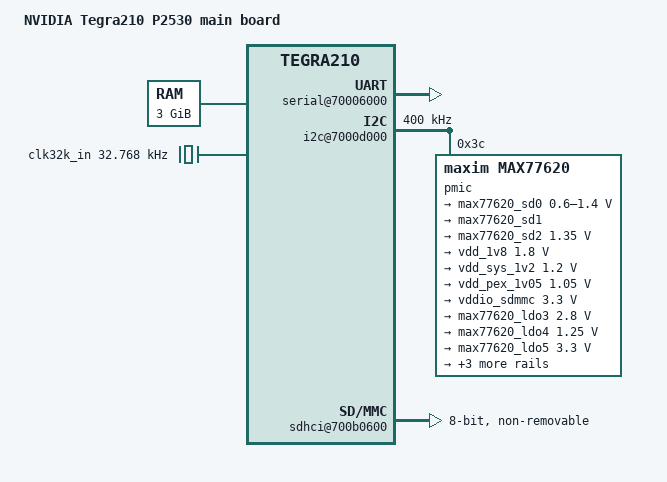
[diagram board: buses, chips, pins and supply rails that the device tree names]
#include <dt-bindings/mfd/max77620.h>

#include "tegra210.dtsi"

/ {
	model = "NVIDIA Tegra210 P2530 main board";
	compatible = "nvidia,p2530", "nvidia,tegra210";

	aliases {
		rtc0 = "/i2c@07000d000/pmic@3c";
		rtc1 = "/rtc@7000e000";
		serial0 = &uarta;
	};

	chosen {
		stdout-path = "serial0:115200n8";
	};

	memory {
		device_type = "memory";
		reg = <0x0 0x80000000 0x0 0xc0000000>;
	};

	/* debug port */
	serial@70006000 {
		status = "okay";
	};

	i2c@7000d000 {
		status = "okay";
		clock-frequency = <400000>;

		pmic: pmic@3c {
			compatible = "maxim,max77620";
			reg = <0x3c>;
			interrupts = <GIC_SPI 86 IRQ_TYPE_LEVEL_HIGH>;

			#interrupt-cells = <2>;
			interrupt-controller;

			#gpio-cells = <2>;
			gpio-controller;

			pinctrl-names = "default";
			pinctrl-0 = <&max77620_default>;

			max77620_default: pinmux {
				gpio0 {
					pins = "gpio0";
					function = "gpio";
				};

				gpio1 {
					pins = "gpio1";
					function = "fps-out";
					drive-push-pull = <1>;
					maxim,active-fps-source = <MAX77620_FPS_SRC_0>;
					maxim,active-fps-power-up-period = <7>;
					maxim,active-fps-power-down-period = <0>;
				};

				gpio2_3 {
					pins = "gpio2", "gpio3";
					function = "fps-out";
					drive-open-drain = <1>;
					maxim,active-fps-source = <MAX77620_FPS_SRC_0>;
				};

				gpio4 {
					pins = "gpio4";
					function = "32k-out1";
				};

				gpio5_6_7 {
					pins = "gpio5", "gpio6", "gpio7";
					function = "gpio";
					drive-push-pull = <1>;
				};
			};

			fps {
				fps0 {
					maxim,fps-event-source = <MAX77620_FPS_EVENT_SRC_EN0>;
					maxim,suspend-fps-time-period = <2560>;
				};

				fps1 {
					maxim,fps-event-source = <MAX77620_FPS_EVENT_SRC_EN1>;
					maxim,suspend-fps-time-period = <2560>;
				};

				fps2 {
					maxim,fps-event-source = <MAX77620_FPS_EVENT_SRC_EN0>;
				};
			};

			regulators {
				in-ldo0-1-supply = <&max77620_sd2>;
				in-ldo7-8-supply = <&max77620_sd2>;

				max77620_sd0: sd0 {
					regulator-name = "VDD_SOC";
					regulator-min-microvolt = <600000>;
					regulator-max-microvolt = <1400000>;
					regulator-always-on;
					regulator-boot-on;

					maxim,active-fps-source = <MAX77620_FPS_SRC_1>;
				};

				max77620_sd1: sd1 {
					regulator-name = "VDD_DDR_1V1_PMIC";
					regulator-always-on;
					regulator-boot-on;

					maxim,active-fps-source = <MAX77620_FPS_SRC_0>;
				};

				max77620_sd2: sd2 {
					regulator-name = "VDD_PRE_REG_1V35";
					regulator-min-microvolt = <1350000>;
					regulator-max-microvolt = <1350000>;

					maxim,active-fps-source = <MAX77620_FPS_SRC_1>;
				};

				vdd_1v8: sd3 {
					regulator-name = "VDD_1V8";
					regulator-min-microvolt = <1800000>;
					regulator-max-microvolt = <1800000>;
					regulator-always-on;
					regulator-boot-on;

					maxim,active-fps-source = <MAX77620_FPS_SRC_0>;
				};

				vdd_sys_1v2: ldo0 {
					regulator-name = "AVDD_SYS_1V2";
					regulator-min-microvolt = <1200000>;
					regulator-max-microvolt = <1200000>;
					regulator-always-on;
					regulator-boot-on;

					maxim,fps-source = <MAX77620_FPS_SRC_NONE>;
				};

				vdd_pex_1v05: ldo1 {
					regulator-name = "VDD_PEX_1V05";
					regulator-min-microvolt = <1050000>;
					regulator-max-microvolt = <1050000>;

					maxim,active-fps-source = <MAX77620_FPS_SRC_NONE>;
				};

				vddio_sdmmc: ldo2 {
					regulator-name = "VDDIO_SDMMC";
					regulator-min-microvolt = <3300000>;
					regulator-max-microvolt = <3300000>;

					maxim,active-fps-source = <MAX77620_FPS_SRC_NONE>;
				};

				max77620_ldo3: ldo3 {
					regulator-name = "VDD_CAM_HV";
					regulator-min-microvolt = <2800000>;
					regulator-max-microvolt = <2800000>;

					maxim,active-fps-source = <MAX77620_FPS_SRC_NONE>;
				};

				max77620_ldo4: ldo4 {
					regulator-name = "VDD_RTC";
					regulator-min-microvolt = <1250000>;
					regulator-max-microvolt = <1250000>;
					regulator-always-on;
					regulator-boot-on;

					maxim,active-fps-source = <MAX77620_FPS_SRC_0>;
				};

				max77620_ldo5: ldo5 {
					regulator-name = "VDD_TS_HV";
					regulator-min-microvolt = <3300000>;
					regulator-max-microvolt = <3300000>;

					maxim,active-fps-source = <MAX77620_FPS_SRC_NONE>;
				};

				max77620_ldo6: ldo6 {
					regulator-name = "VDD_TS_1V8";
					regulator-min-microvolt = <1800000>;
					regulator-max-microvolt = <1800000>;
					regulator-always-on;
					regulator-boot-on;

					maxim,active-fps-source = <MAX77620_FPS_SRC_0>;
					maxim,active-fps-power-up-slot = <7>;
					maxim,active-fps-power-down-slot = <0>;
				};

				avdd_1v05_pll: ldo7 {
					regulator-name = "AVDD_1V05_PLL";
					regulator-min-microvolt = <1050000>;
					regulator-max-microvolt = <1050000>;
					regulator-always-on;
					regulator-boot-on;

					maxim,active-fps-source = <MAX77620_FPS_SRC_1>;
				};

				avdd_1v05: ldo8 {
					regulator-name = "AVDD_SATA_HDMI_DP_1V05";
					regulator-min-microvolt = <1050000>;
					regulator-max-microvolt = <1050000>;

					maxim,fps-source = <MAX77620_FPS_SRC_NONE>;
				};
			};
		};
	};

	pmc@7000e400 {
		nvidia,invert-interrupt;
	};

	/* eMMC */
	sdhci@700b0600 {
		status = "okay";
		bus-width = <8>;
		non-removable;
	};

	clocks {
		compatible = "simple-bus";
		#address-cells = <1>;
		#size-cells = <0>;

		clk32k_in: clock@0 {
			compatible = "fixed-clock";
			reg = <0>;
			#clock-cells = <0>;
			clock-frequency = <32768>;
		};
	};
};
